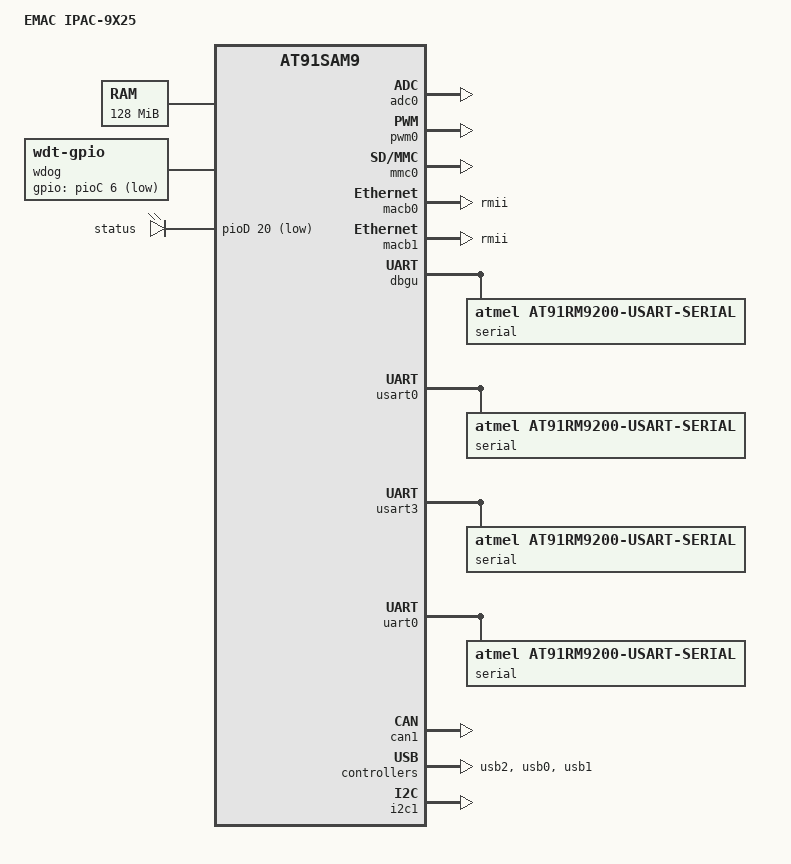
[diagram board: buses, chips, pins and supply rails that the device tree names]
/*
 * ipac-9x25.dts - Device Tree file for the iPac-9x25.
 *
 *  Copyright (C) 2014 EMAC Inc.
 *
 * Licensed under GPLv2 or later.
 */
/dts-v1/;
#include "at91sam9x25.dtsi"

/ {
	model = "EMAC IPAC-9X25";
	compatible = "atmel,at91sam9x25ek", "atmel,at91sam9x5ek", "atmel,at91sam9x5", "atmel,at91sam9";

	chosen {
		bootargs = "root=/dev/mtdblock1 rw rootfstype=ubifs ubi.mtd=1 root=ubi0:rootfs";
		stdout-path = "serial0:115200n8";
		u-boot,dm-pre-reloc;
	};

	aliases {
		serial1 = &usart0;
		serial3 = &uart0;
		serial5 = &dbgu;
	};

	memory {
		reg = <0x20000000 0x8000000>;
	};

	clocks {
		#address-cells = <1>;
		#size-cells = <1>;
		ranges;

		main_clock: clock@0 {
			compatible = "atmel,osc", "fixed-clock";
			clock-frequency = <12000000>;
		};

		slow_xtal {
			clock-frequency = <32768>;
		};

		main_xtal {
			clock-frequency = <12000000>;
		};
	};
	
	wdog: watchdog {
		/* MAX6747 */
		compatible = "linux,wdt-gpio";
		gpios = <&pioC 6 GPIO_ACTIVE_LOW>;
		hw_algo = "toggle";
		always-running;
		hw_margin_ms = <1000>;
	};

	ahb {
		apb {
			pinctrl@fffff400 {
				adc0 {
					pinctrl_adc0: adc0-board {
						atmel,pins =
							<AT91_PIOB 11 AT91_PERIPH_A AT91_PINCTRL_NONE
							 AT91_PIOB 12 AT91_PERIPH_A AT91_PINCTRL_NONE
							 AT91_PIOB 13 AT91_PERIPH_A AT91_PINCTRL_NONE
							 AT91_PIOB 14 AT91_PERIPH_A AT91_PINCTRL_NONE
							 AT91_PIOB 15 AT91_PERIPH_A AT91_PINCTRL_NONE
							 AT91_PIOB 16 AT91_PERIPH_A AT91_PINCTRL_NONE
							 AT91_PIOB 17 AT91_PERIPH_A AT91_PINCTRL_NONE>;
					};
				};

				mmc0 {
					pinctrl_board_mmc0: mmc0-board {
						atmel,pins =
							<AT91_PIOC 4 AT91_PERIPH_GPIO AT91_PINCTRL_PULL_UP_DEGLITCH>;
					};
				};

				gpio {
					pinctrl_board_gpio: gpio0-board {
						atmel,pins =
							<AT91_PIOD 0 AT91_PERIPH_GPIO AT91_PINCTRL_PULL_UP
							 AT91_PIOD 1 AT91_PERIPH_GPIO AT91_PINCTRL_PULL_UP
							 AT91_PIOD 2 AT91_PERIPH_GPIO AT91_PINCTRL_PULL_UP
							 AT91_PIOD 3 AT91_PERIPH_GPIO AT91_PINCTRL_PULL_UP
							 AT91_PIOD 4 AT91_PERIPH_GPIO AT91_PINCTRL_PULL_UP
							 AT91_PIOD 5 AT91_PERIPH_GPIO AT91_PINCTRL_PULL_UP
							 AT91_PIOD 6 AT91_PERIPH_GPIO AT91_PINCTRL_PULL_UP
							 AT91_PIOD 7 AT91_PERIPH_GPIO AT91_PINCTRL_PULL_UP
							 AT91_PIOD 8 AT91_PERIPH_GPIO AT91_PINCTRL_PULL_UP
							 AT91_PIOD 9 AT91_PERIPH_GPIO AT91_PINCTRL_PULL_UP
							 AT91_PIOD 10 AT91_PERIPH_GPIO AT91_PINCTRL_PULL_UP
							 AT91_PIOD 11 AT91_PERIPH_GPIO AT91_PINCTRL_PULL_UP
							 AT91_PIOD 12 AT91_PERIPH_GPIO AT91_PINCTRL_PULL_UP
							 AT91_PIOD 13 AT91_PERIPH_GPIO AT91_PINCTRL_PULL_UP
							 AT91_PIOD 14 AT91_PERIPH_GPIO AT91_PINCTRL_PULL_UP
							 AT91_PIOD 15 AT91_PERIPH_GPIO AT91_PINCTRL_PULL_UP
							 AT91_PIOD 16 AT91_PERIPH_GPIO AT91_PINCTRL_PULL_UP
							 AT91_PIOD 17 AT91_PERIPH_GPIO AT91_PINCTRL_PULL_UP
							 AT91_PIOD 18 AT91_PERIPH_GPIO AT91_PINCTRL_PULL_UP
							 AT91_PIOD 19 AT91_PERIPH_GPIO AT91_PINCTRL_PULL_UP
							 AT91_PIOD 20 AT91_PERIPH_GPIO AT91_PINCTRL_PULL_UP
							 AT91_PIOD 21 AT91_PERIPH_GPIO AT91_PINCTRL_PULL_UP>;
					};
				};

				wdt_gpio {
					pinctrl_wdt: wdt-board {
						atmel,pins =
							<AT91_PIOC 6 AT91_PERIPH_GPIO AT91_PINCTRL_PULL_UP
							 AT91_PIOC 7 AT91_PERIPH_GPIO AT91_PINCTRL_PULL_UP>;
					};
				};

				led_gpio {
					pinctrl_led: led-board {
						atmel,pins =
							<AT91_PIOD 20 AT91_PERIPH_GPIO AT91_PINCTRL_NONE>;
					};
				};
			};

			adc0: adc@f804c000 {
				pinctrl-names = "default";
				pinctrl-0 = <&pinctrl_adc0>;
				status = "okay";
				atmel,adc-channels-used = <0x7f>;
			};

			pwm0: pwm@f8034000 {
				pinctrl-names = "default";
				pinctrl-0 = <&pinctrl_pwm0_pwm0_1 &pinctrl_pwm0_pwm1_1>;
				compatible = "atmel,at91sam9rl-pwm";
				reg = <0xf8034000 0x400>;
				#pwm-cells = <3>;
				status = "okay";
			};

			ssc0: ssc@f0010000 {
				status = "okay";
			};

			mmc0: mmc@f0008000 {
				pinctrl-names = "default";
				pinctrl-0 = <
					&pinctrl_board_mmc0
					&pinctrl_mmc0_slot0_clk_cmd_dat0
					&pinctrl_mmc0_slot0_dat1_3>;
				status = "okay";
				slot@0 {
					reg = <0>;
					bus-width = <4>;
					/* cd-gpios = <&pioC 4 GPIO_ACTIVE_LOW>; */
				};
			};

			macb0: ethernet@f802c000 {
				phy-mode = "rmii";
				status = "okay";
			};

			macb1: ethernet@f8030000 {
				phy-mode = "rmii";
				status = "okay";
			};

			rtc: rtc@fffffeb0 {
				status = "okay";
			};

			dbgu: serial@fffff200 {
				status = "okay";
				serial {
					compatible = "atmel,at91rm9200-usart-serial";
				};
			};

			usart0: serial@f801c000 {
				pinctrl-names = "default";
				pinctrl-0 = <
					&pinctrl_usart0
					&pinctrl_usart0_rts
					&pinctrl_usart0_cts>;
				status = "okay";
				serial {
					compatible = "atmel,at91rm9200-usart-serial";
				};
			};

			usart3: serial@f8028000 {
				pinctrl-names = "default";
				pinctrl-0 = <
					&pinctrl_usart3
					&pinctrl_usart3_rts
					&pinctrl_usart3_cts>;
				status = "okay";
				serial {
					compatible = "atmel,at91rm9200-usart-serial";
				};
			};

			uart0: serial@f8040000 {
				status = "okay";
				serial {
					compatible = "atmel,at91rm9200-usart-serial";
				};
			};

			can1: can@f8004000 {
				status = "okay";
			};

			usb2: gadget@f803c000 {
				status = "okay";
			};

			i2c1: i2c@f8014000 {
				status = "okay";
			};
		};

		usb0: ohci@00600000 {
			status = "okay";
			num-ports = <3>;
			atmel,vbus-gpio = <0 /* &pioD 18 GPIO_ACTIVE_LOW *//* Activate to have access to port A */
					   &pioD 19 GPIO_ACTIVE_LOW
					   &pioD 20 GPIO_ACTIVE_LOW
					  >;
		};

		usb1: ehci@00700000 {
			status = "okay";
		};
	};

	gpio-leds {
		compatible = "gpio-leds";
		pinctrl-names = "default";
		pinctrl-0 = <&pinctrl_led>;
		led-stat {
			label = "status";
			gpios = <&pioD 20 1>;
			default-state = "on";
			linux,default-trigger = "none";
		};
	};

	gpios {
		compatible = "atmel,at91sam9x5-pinctrl", "atmel,at91rm9200-pinctrl", "simple-bus";
		pinctrl-names = "default";
		pinctrl-0 = <&pinctrl_board_gpio>;
	};
};
